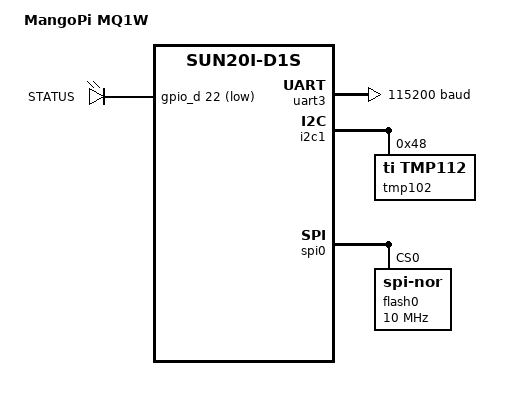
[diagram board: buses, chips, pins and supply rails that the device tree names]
/*
 * Copyright (c) 2025
 *
 * SPDX-License-Identifier: Apache-2.0
 */

#include <dt-bindings/gpio/gpio.h>
#include <allwinner/sun20i-d1s.dtsi>

/ {
	model = "MangoPi MQ1W";
	compatible = "widora,mangopi-mq1w", "allwinner,sun20i-d1s";
	#address-cells = <1>;
	#size-cells = <1>;

	aliases {
		led0 = &led0;
	};

	leds {
		compatible = "gpio-leds";

		led0: led_0 {
			gpios = <&gpio_d 22 GPIO_ACTIVE_LOW>;
			label = "STATUS";
		};
	};
};

&uart3 {
	status = "okay";
	current-speed = <115200>;
	pinctrl-0 = <&pb6_uart3_tx &pb7_uart3_rx>;
	pinctrl-names = "default";
};

&i2c1 {
	status = "okay";
	pinctrl-0 = <&pb4_twi1_sck &pb5_twi1_sda>;
	pinctrl-names = "default";

	tmp102: tmp102@48 {
		compatible = "ti,tmp112";
		reg = <0x48>;
	};
};

&spi0 {
	status = "okay";
	pinctrl-0 = <&pc2_spi0_clk &pc3_spi0_cs0 &pc4_spi0_mosi &pc5_spi0_miso &pc6_spi0_wp &pc7_spi0_hold>;
	pinctrl-names = "default";

	flash0: flash@0 {
		compatible = "jedec,spi-nor";
		reg = <0>;
		spi-max-frequency = <10000000>;
	};
};
